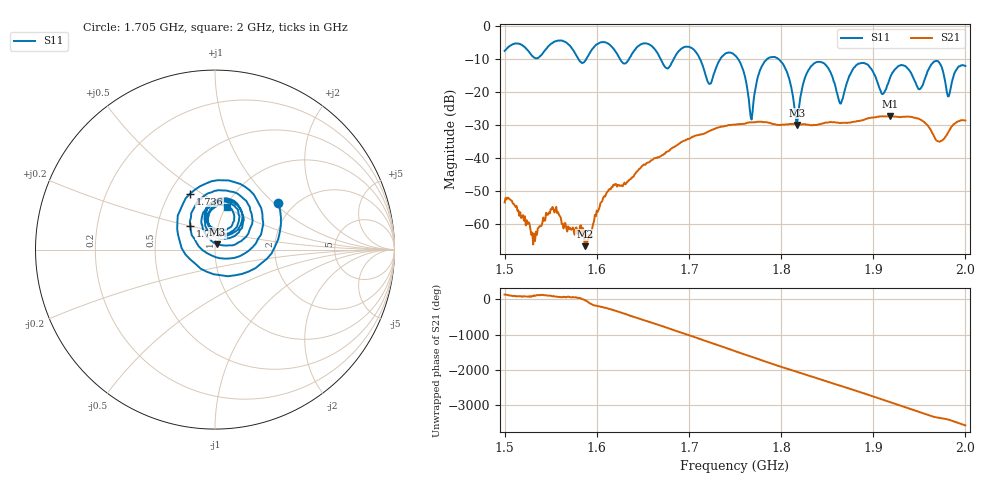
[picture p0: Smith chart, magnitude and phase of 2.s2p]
! NanoVNA-App by SYSJOINT et al v1.1.209 (+OD18)
! Date: 2026-01-21 14:40:39
! Start: 1,5GHz Stop: 2GHz Points: 501
! S-Parameter data: F S11 S21 S12 S22
# Hz S RI R 50
!  Frequency  S11_Real  S11_Imag  S21_Real  S21_Imag  S12_Real  S12_Imag  S22_Real  S22_Imag
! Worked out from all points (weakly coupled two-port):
!   501 points, 1.5 GHz to 2 GHz, reference 50 ohm
!   highest |S21| = -27.34 dB at 1.918 GHz (marker M1); lowest = -66.6 dB at 1.587 GHz (marker M2)
!   lowest |S11| = -30.0 dB at 1.817 GHz (marker M3), VSWR 1.07, Z = 51.2 + j2.99 ohm
!   |S11| at or under -10 dB: 1.712 GHz to 1.734 GHz (22.27 MHz wide, 1.29 % of centre); 1.753 GHz to 1.785 GHz (32.11 MHz wide, 1.82 % of centre); 1.797 GHz to end of sweep (the widest 3 of 6)
!   S12 and S22 are empty: the file has one direction only
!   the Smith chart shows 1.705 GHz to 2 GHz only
!   S11 on the Smith chart (normalised r, x): 1.705 GHz: 1.66, +1.06; 1.736 GHz: 0.63, +0.45; 1.776 GHz: 0.74, +0.20; 2 GHz: 1.02, +0.51
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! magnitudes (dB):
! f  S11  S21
! 1.5 GHz  -7.6  -53.4
! 1.531 GHz  -9.4  -66.1
! 1.552 GHz  -5.3  -54.8
! 1.584 GHz  -11.3  -63.3
! 1.587 GHz  -10.8  -66.6
! 1.667 GHz  -8.9  -39.8
! 1.705 GHz  -7.2  -33.5
! 1.722 GHz  -17.6  -31.9
! 1.736 GHz  -9.3  -30.5
! 1.75 GHz  -9.0  -29.9
! 1.767 GHz  -27.5  -29.2
! 1.776 GHz  -14.5  -29.0
! 1.8 GHz  -10.9  -30.0
! 1.817 GHz  -30.0  -29.7
! 1.834 GHz  -12.0  -30.1
! 1.864 GHz  -23.5  -29.4
! 1.885 GHz  -11.5  -28.8
! 1.917 GHz  -16.8  -27.4
! 1.918 GHz  -15.8  -27.3
! 1.969 GHz  -10.7  -34.8
! 1.982 GHz  -21.3  -31.9
! 2 GHz  -12.2  -28.7
